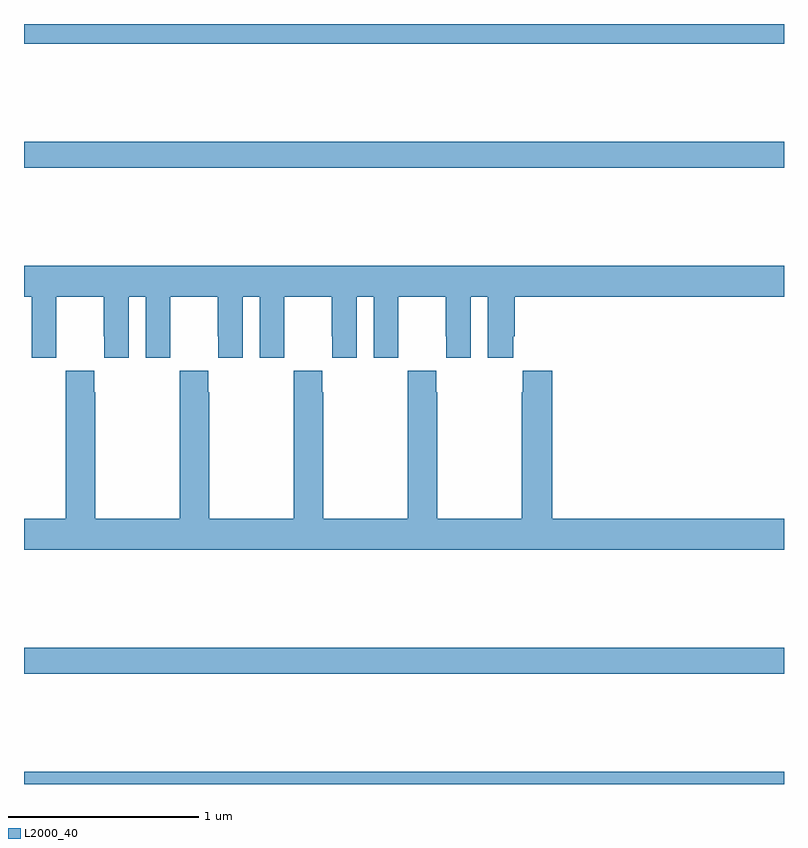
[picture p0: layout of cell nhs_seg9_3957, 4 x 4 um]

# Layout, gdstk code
import gdstk
lib = gdstk.Library(unit=1e-6, precision=1e-09)
def R(c, l, rs):  # rectangles x0, y0, x1, y1
    for r in rs: c.add(gdstk.rectangle(r[:2], r[2:], *l))
def P(c, l, *ps):  # polygons
    for p in ps: c.add(gdstk.Polygon(p, *l))
L2000_40 = (2000, 40)

nhs_seg9_3957 = lib.new_cell('nhs_seg9_3957')
R(nhs_seg9_3957, L2000_40, [(337,1216.5,341,1216.564), (337,1217.08,341,1217.216), (337,1219.744,341,1219.88), (337,1220.396,341,1220.5)])
P(nhs_seg9_3957, L2000_40, [(337,1219.064),(337.04,1219.064),(337.04,1218.744),(337.17,1218.744),(337.17,1218.856),(337.171,1218.856),(337.171,1219.064),(337.421,1219.064),(337.421,1218.856),(337.422,1218.856),(337.422,1218.744),(337.552,1218.744),(337.552,1219.064),(337.64,1219.064),(337.64,1218.744),(337.77,1218.744),(337.77,1218.856),(337.771,1218.856),(337.771,1219.064),(338.021,1219.064),(338.021,1218.856),(338.022,1218.856),(338.022,1218.744),(338.152,1218.744),(338.152,1219.064),(338.24,1219.064),(338.24,1218.744),(338.37,1218.744),(338.37,1218.856),(338.371,1218.856),(338.371,1219.064),(338.621,1219.064),(338.621,1218.856),(338.622,1218.856),(338.622,1218.744),(338.752,1218.744),(338.752,1219.064),(338.84,1219.064),(338.84,1218.744),(338.97,1218.744),(338.97,1218.856),(338.971,1218.856),(338.971,1219.064),(339.221,1219.064),(339.221,1218.856),(339.222,1218.856),(339.222,1218.744),(339.352,1218.744),(339.352,1219.064),(339.44,1219.064),(339.44,1218.744),(339.574,1218.744),(339.574,1218.856),(339.584,1218.856),(339.584,1219.064),(341,1219.064),(341,1219.228),(337,1219.228)],
  [(341,1217.896),(339.779,1217.896),(339.779,1218.676),(339.625,1218.676),(339.625,1218.563),(339.619,1218.563),(339.619,1217.896),(339.174,1217.896),(339.174,1218.563),(339.171,1218.563),(339.171,1218.676),(339.021,1218.676),(339.021,1218.563),(339.019,1218.563),(339.019,1217.896),(338.574,1217.896),(338.574,1218.563),(338.571,1218.563),(338.571,1218.676),(338.421,1218.676),(338.421,1218.563),(338.419,1218.563),(338.419,1217.896),(337.974,1217.896),(337.974,1218.563),(337.971,1218.563),(337.971,1218.676),(337.821,1218.676),(337.821,1218.563),(337.819,1218.563),(337.819,1217.896),(337.374,1217.896),(337.374,1218.563),(337.371,1218.563),(337.371,1218.676),(337.221,1218.676),(337.221,1218.563),(337.219,1218.563),(337.219,1217.896),(337,1217.896),(337,1217.732),(341,1217.732)])

lib.write_gds('nhs_seg9_3957.gds')
